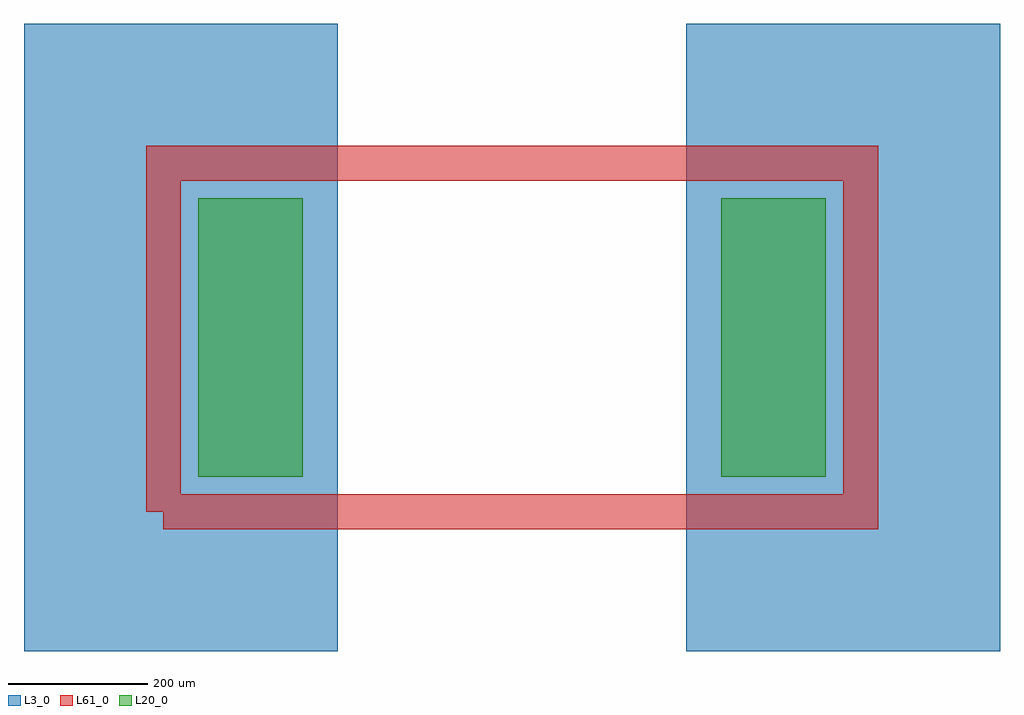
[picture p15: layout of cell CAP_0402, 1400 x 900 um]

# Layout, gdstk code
import gdstk
lib = gdstk.Library(unit=1e-6, precision=1e-09)
def R(c, l, rs):  # rectangles x0, y0, x1, y1
    for r in rs: c.add(gdstk.rectangle(r[:2], r[2:], *l))
L3_0 = (3, 0)
L20_0 = (20, 0)
L61_0 = (61, 0)

cap_0402 = lib.new_cell('CAP_0402')
R(cap_0402, L3_0, [(-200,-200,250,700), (750,-200,1200,700)])
R(cap_0402, L20_0, [(50,50,200,450), (800,50,950,450)])
cap_0402.add(gdstk.FlexPath([(0,0),(1000,0),(1000,500),(0,500),(0,0)], 50, ends="flush", simple_path=True, layer=61, datatype=0))  # L61_0

lib.write_gds('CAP_0402.gds')
